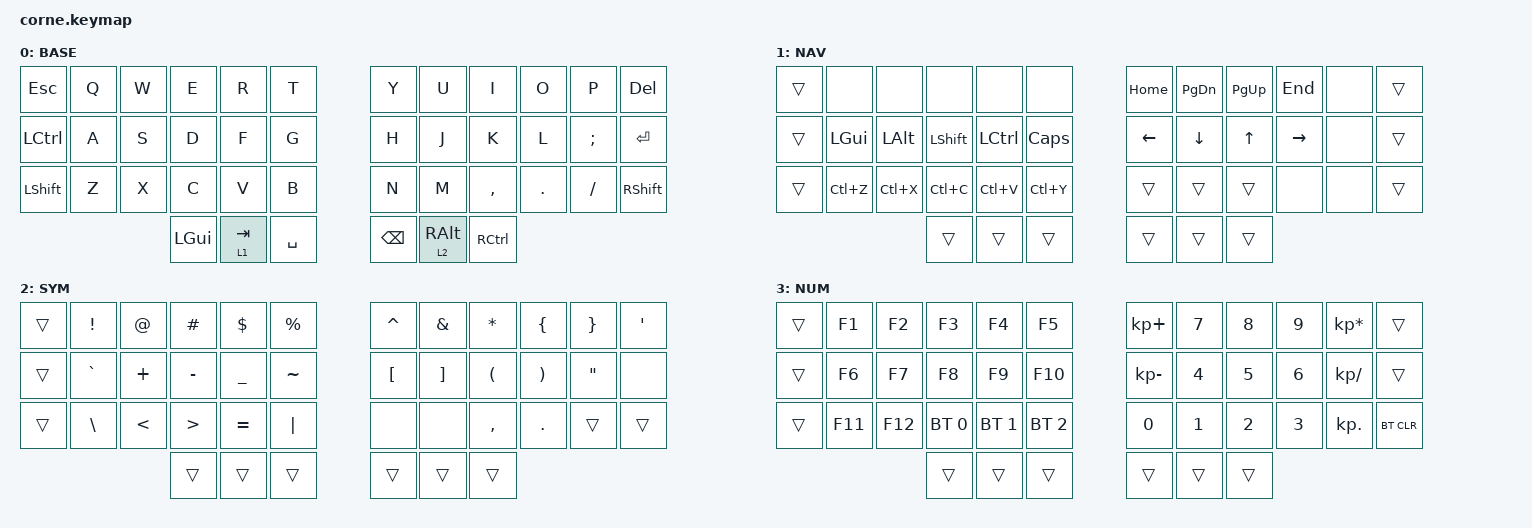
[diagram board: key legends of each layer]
/*
 * Corne (ZMK) — раскладка для C / Rust с поддержкой русской раскладки.
 *
 * Слои:
 *   BASE   — твой базовый слой (замени три верхних ряда на свои, если отличаются)
 *   RU     — «флажок» русского режима: прозрачный, включается клавишей языка
 *   NAV    — держи левый большой: стрелки, модификаторы, Undo/Cut/Copy/Paste
 *   SYM    — держи правый большой: символы
 *   SYM_RU — то же, но для русского режима (включается автоматически)
 *   NUM    — NAV + SYM вместе: цифры, F-клавиши, Bluetooth
 *
 * Язык переключай ТОЛЬКО клавишей на клавиатуре (правый крайний большой),
 * иначе клавиатура не узнает, что язык сменился. Если вдруг рассинхрон —
 * просто нажми её 1–2 раза: она шлёт «абсолютные» хоткеи, состояние выровняется.
 */

#include <behaviors.dtsi>
#include <dt-bindings/zmk/bt.h>
#include <dt-bindings/zmk/keys.h>

#define BASE   0
#define RU     1
#define NAV    2
#define SYM    3
#define SYM_RU 4
#define NUM    5

/* Хоткеи ОС «включить английский» / «включить русский».
 * Windows: Параметры → Время и язык → Ввод → Доп. параметры клавиатуры →
 *          Сочетания клавиш для языков ввода → назначь English = Ctrl+Shift+1,
 *          Русский = Ctrl+Shift+2. */

#define HK_EN LC(LS(N1))
#define HK_RU LC(LS(N2))

/* Пауза между переключением языка и символом (мс).
 * Если в русском режиме вместо символов иногда печатаются буквы — увеличь до 60–80. */

#define RU_DELAY 40

&lt {
    quick-tap-ms = <200>;   /* тап + удержание = автоповтор Tab/Backspace */
};

/ {
    conditional_layers {
        compatible = "zmk,conditional-layers";

        tri_layer {
            if-layers = <1 2>;
            then-layer = <3>;
        };

        sym_ru {
            if-layers = <1 2>;
            then-layer = <3>;
        };
    };

    macros {
        lang_ru: lang_ru {
            compatible = "zmk,behavior-macro";
            #binding-cells = <0>;
            wait-ms = <10>;
            tap-ms = <10>;
            bindings = <&macro_tap>, <&kp HK_RU &tog 0>;
        };

        lang_en: lang_en {
            compatible = "zmk,behavior-macro";
            #binding-cells = <0>;
            wait-ms = <10>;
            tap-ms = <10>;
            bindings = <&macro_tap>, <&kp HK_EN &tog 0>;
        };

        /* Символы для русского режима: переключиться на EN → символ → обратно на RU.
         * Символы, которые в русской раскладке стоят там же (! % * ( ) - _ = + \),
         * шлются напрямую, без переключения. */

        ru_grave: ru_grave {
            compatible = "zmk,behavior-macro";
            #binding-cells = <0>;
            wait-ms = <RU_DELAY>;
            tap-ms = <10>;
            bindings = <&macro_tap>, <&kp HK_EN &kp GRAVE &kp HK_RU>;
        };

        ru_caret: ru_caret {
            compatible = "zmk,behavior-macro";
            #binding-cells = <0>;
            wait-ms = <RU_DELAY>;
            tap-ms = <10>;
            bindings = <&macro_tap>, <&kp HK_EN &kp CARET &kp HK_RU>;
        };

        ru_hash: ru_hash {
            compatible = "zmk,behavior-macro";
            #binding-cells = <0>;
            wait-ms = <RU_DELAY>;
            tap-ms = <10>;
            bindings = <&macro_tap>, <&kp HK_EN &kp HASH &kp HK_RU>;
        };

        ru_lt: ru_lt {
            compatible = "zmk,behavior-macro";
            #binding-cells = <0>;
            wait-ms = <RU_DELAY>;
            tap-ms = <10>;
            bindings = <&macro_tap>, <&kp HK_EN &kp LT &kp HK_RU>;
        };

        ru_gt: ru_gt {
            compatible = "zmk,behavior-macro";
            #binding-cells = <0>;
            wait-ms = <RU_DELAY>;
            tap-ms = <10>;
            bindings = <&macro_tap>, <&kp HK_EN &kp GT &kp HK_RU>;
        };

        ru_amps: ru_amps {
            compatible = "zmk,behavior-macro";
            #binding-cells = <0>;
            wait-ms = <RU_DELAY>;
            tap-ms = <10>;
            bindings = <&macro_tap>, <&kp HK_EN &kp AMPS &kp HK_RU>;
        };

        ru_tilde: ru_tilde {
            compatible = "zmk,behavior-macro";
            #binding-cells = <0>;
            wait-ms = <RU_DELAY>;
            tap-ms = <10>;
            bindings = <&macro_tap>, <&kp HK_EN &kp TILDE &kp HK_RU>;
        };

        ru_pipe: ru_pipe {
            compatible = "zmk,behavior-macro";
            #binding-cells = <0>;
            wait-ms = <RU_DELAY>;
            tap-ms = <10>;
            bindings = <&macro_tap>, <&kp HK_EN &kp PIPE &kp HK_RU>;
        };

        ru_at: ru_at {
            compatible = "zmk,behavior-macro";
            #binding-cells = <0>;
            wait-ms = <RU_DELAY>;
            tap-ms = <10>;
            bindings = <&macro_tap>, <&kp HK_EN &kp AT &kp HK_RU>;
        };

        ru_lbrc: ru_lbrc {
            compatible = "zmk,behavior-macro";
            #binding-cells = <0>;
            wait-ms = <RU_DELAY>;
            tap-ms = <10>;
            bindings = <&macro_tap>, <&kp HK_EN &kp LBRC &kp HK_RU>;
        };

        ru_rbrc: ru_rbrc {
            compatible = "zmk,behavior-macro";
            #binding-cells = <0>;
            wait-ms = <RU_DELAY>;
            tap-ms = <10>;
            bindings = <&macro_tap>, <&kp HK_EN &kp RBRC &kp HK_RU>;
        };

        ru_dqt: ru_dqt {
            compatible = "zmk,behavior-macro";
            #binding-cells = <0>;
            wait-ms = <RU_DELAY>;
            tap-ms = <10>;
            bindings = <&macro_tap>, <&kp HK_EN &kp DQT &kp HK_RU>;
        };

        ru_dllr: ru_dllr {
            compatible = "zmk,behavior-macro";
            #binding-cells = <0>;
            wait-ms = <RU_DELAY>;
            tap-ms = <10>;
            bindings = <&macro_tap>, <&kp HK_EN &kp DLLR &kp HK_RU>;
        };

        ru_colon: ru_colon {
            compatible = "zmk,behavior-macro";
            #binding-cells = <0>;
            wait-ms = <RU_DELAY>;
            tap-ms = <10>;
            bindings = <&macro_tap>, <&kp HK_EN &kp COLON &kp HK_RU>;
        };

        ru_sqt: ru_sqt {
            compatible = "zmk,behavior-macro";
            #binding-cells = <0>;
            wait-ms = <RU_DELAY>;
            tap-ms = <10>;
            bindings = <&macro_tap>, <&kp HK_EN &kp SQT &kp HK_RU>;
        };

        ru_fslh: ru_fslh {
            compatible = "zmk,behavior-macro";
            #binding-cells = <0>;
            wait-ms = <RU_DELAY>;
            tap-ms = <10>;
            bindings = <&macro_tap>, <&kp HK_EN &kp FSLH &kp HK_RU>;
        };

        ru_lbkt: ru_lbkt {
            compatible = "zmk,behavior-macro";
            #binding-cells = <0>;
            wait-ms = <RU_DELAY>;
            tap-ms = <10>;
            bindings = <&macro_tap>, <&kp HK_EN &kp LBKT &kp HK_RU>;
        };

        ru_rbkt: ru_rbkt {
            compatible = "zmk,behavior-macro";
            #binding-cells = <0>;
            wait-ms = <RU_DELAY>;
            tap-ms = <10>;
            bindings = <&macro_tap>, <&kp HK_EN &kp RBKT &kp HK_RU>;
        };

        ru_qmark: ru_qmark {
            compatible = "zmk,behavior-macro";
            #binding-cells = <0>;
            wait-ms = <RU_DELAY>;
            tap-ms = <10>;
            bindings = <&macro_tap>, <&kp HK_EN &kp QMARK &kp HK_RU>;
        };

        ru_semi: ru_semi {
            compatible = "zmk,behavior-macro";
            #binding-cells = <0>;
            wait-ms = <RU_DELAY>;
            tap-ms = <10>;
            bindings = <&macro_tap>, <&kp HK_EN &kp SEMI &kp HK_RU>;
        };
    };

    keymap {
        compatible = "zmk,keymap";

        base_layer {
            display-name = "BASE";
            bindings = <
&kp ESC    &kp Q  &kp W  &kp E     &kp R      &kp T        &kp Y          &kp U            &kp I      &kp O    &kp P     &kp DEL
&kp LCTRL  &kp A  &kp S  &kp D     &kp F      &kp G        &kp H          &kp J            &kp K      &kp L    &kp SEMI  &kp ENTER
&kp LSHFT  &kp Z  &kp X  &kp C     &kp V      &kp B        &kp N          &kp M            &kp COMMA  &kp DOT  &kp FSLH  &kp RIGHT_SHIFT
                         &kp LGUI  &lt 1 TAB  &kp SPACE    &kp BACKSPACE  &lt 2 RIGHT_ALT  &kp RCTRL
            >;
        };

        nav_layer {
            display-name = "NAV";
            bindings = <
&trans  &none      &none      &none      &none      &none        &kp HOME  &kp PG_DN  &kp PG_UP  &kp END    &none  &trans
&trans  &kp LGUI   &kp LALT   &kp LSHFT  &kp LCTRL  &kp CAPS     &kp LEFT  &kp DOWN   &kp UP     &kp RIGHT  &none  &trans
&trans  &kp LC(Z)  &kp LC(X)  &kp LC(C)  &kp LC(V)  &kp LC(Y)    &trans    &trans     &trans     &none      &none  &trans
                              &trans     &trans     &trans       &trans    &trans     &trans
            >;
        };

        sym_layer {
            display-name = "SYM";
            bindings = <
&trans  &kp EXCL       &kp AT         &kp HASH          &kp DOLLAR  &kp PERCENT    &kp CARET         &kp AMPERSAND      &kp ASTERISK          &kp LEFT_BRACE         &kp RIGHT_BRACE    &kp SINGLE_QUOTE
&trans  &kp GRAVE      &kp PLUS       &kp MINUS         &kp UNDER   &kp TILDE      &kp LEFT_BRACKET  &kp RIGHT_BRACKET  &kp LEFT_PARENTHESIS  &kp RIGHT_PARENTHESIS  &kp DOUBLE_QUOTES  &none
&trans  &kp BACKSLASH  &kp LESS_THAN  &kp GREATER_THAN  &kp EQUAL   &kp PIPE       &none             &none              &kp COMMA             &kp DOT                &trans             &trans
                                      &trans            &trans      &trans         &trans            &trans             &trans
            >;
        };

        num_layer {
            display-name = "NUM";
            bindings = <
&trans  &kp F1   &kp F2   &kp F3        &kp F4        &kp F5          &kp KP_PLUS   &kp N7  &kp N8  &kp N9  &kp KP_MULTIPLY  &trans
&trans  &kp F6   &kp F7   &kp F8        &kp F9        &kp F10         &kp KP_MINUS  &kp N4  &kp N5  &kp N6  &kp KP_DIVIDE    &trans
&trans  &kp F11  &kp F12  &bt BT_SEL 0  &bt BT_SEL 1  &bt BT_SEL 2    &kp N0        &kp N1  &kp N2  &kp N3  &kp KP_DOT       &bt BT_CLR
                          &trans        &trans        &trans          &trans        &trans  &trans
            >;
        };
    };
};
